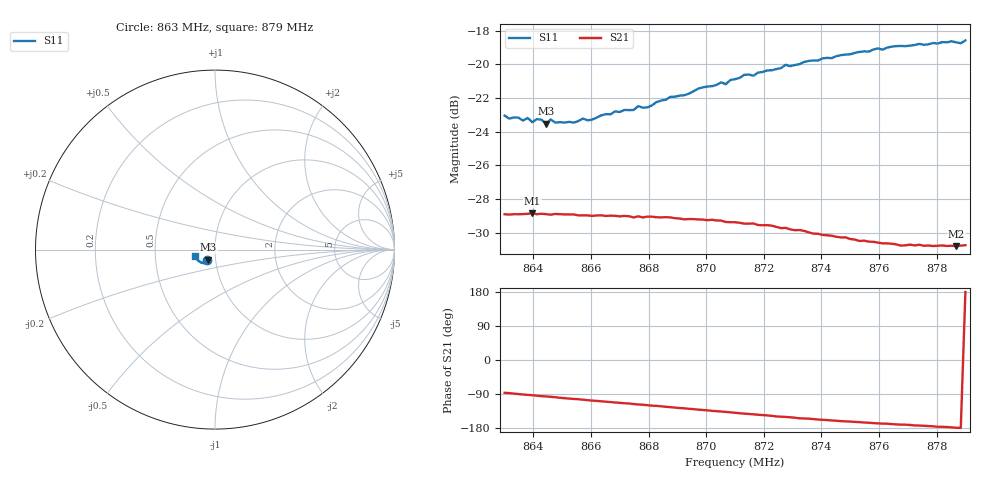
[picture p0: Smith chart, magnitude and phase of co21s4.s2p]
# HZ S RI R 50
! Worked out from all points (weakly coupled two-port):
!   101 points, 863 MHz to 879 MHz, reference 50 ohm
!   highest |S21| = -28.85 dB at 863.96 MHz (marker M1); lowest = -30.8 dB at 878.68 MHz (marker M2)
!   lowest |S11| = -23.5 dB at 864.44 MHz (marker M3), VSWR 1.14, Z = 46.1 - j5.14 ohm
!   |S11| at or under -10 dB: start of sweep to end of sweep
!   S12 and S22 are empty: the file has one direction only
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8.63e8  -0.043 -0.0558  0.00218 -0.0358  0 0  0 0
8.6364e8  -0.0395 -0.0555  -0.000697 -0.0359  0 0  0 0
8.638e8  -0.0402 -0.0565  -0.00127 -0.0359  0 0  0 0
8.6396e8  -0.0387 -0.0551  -0.00185 -0.0361  0 0  0 0
8.6412e8  -0.0459 -0.0511  -0.0026 -0.0358  0 0  0 0
8.6444e8  -0.0371 -0.0554  -0.00379 -0.0357  0 0  0 0
8.646e8  -0.0374 -0.0575  -0.00446 -0.0355  0 0  0 0
8.6476e8  -0.0364 -0.0564  -0.00517 -0.0355  0 0  0 0
8.654e8  -0.0348 -0.0574  -0.00792 -0.0349  0 0  0 0
8.6572e8  -0.034 -0.06  -0.00902 -0.0344  0 0  0 0
8.6604e8  -0.0332 -0.0599  -0.0104 -0.0339  0 0  0 0
8.6684e8  -0.0348 -0.0636  -0.0133 -0.0328  0 0  0 0
8.6748e8  -0.0337 -0.065  -0.0155 -0.0314  0 0  0 0
8.6764e8  -0.0361 -0.0659  -0.0162 -0.0314  0 0  0 0
8.6796e8  -0.0346 -0.066  -0.0173 -0.0308  0 0  0 0
8.6844e8  -0.037 -0.0687  -0.0187 -0.0297  0 0  0 0
8.7068e8  -0.047 -0.0735  -0.0249 -0.0232  0 0  0 0
8.71e8  -0.051 -0.0746  -0.0257 -0.0221  0 0  0 0
8.7372e8  -0.0708 -0.0744  -0.0286 -0.0128  0 0  0 0
8.7644e8  -0.0955 -0.0602  -0.0288 -0.00548  0 0  0 0
8.7868e8  -0.1093 -0.0396  -0.0288 -0.000589  0 0  0 0
8.79e8  -0.1119 -0.0367  -0.029 0.000283  0 0  0 0
